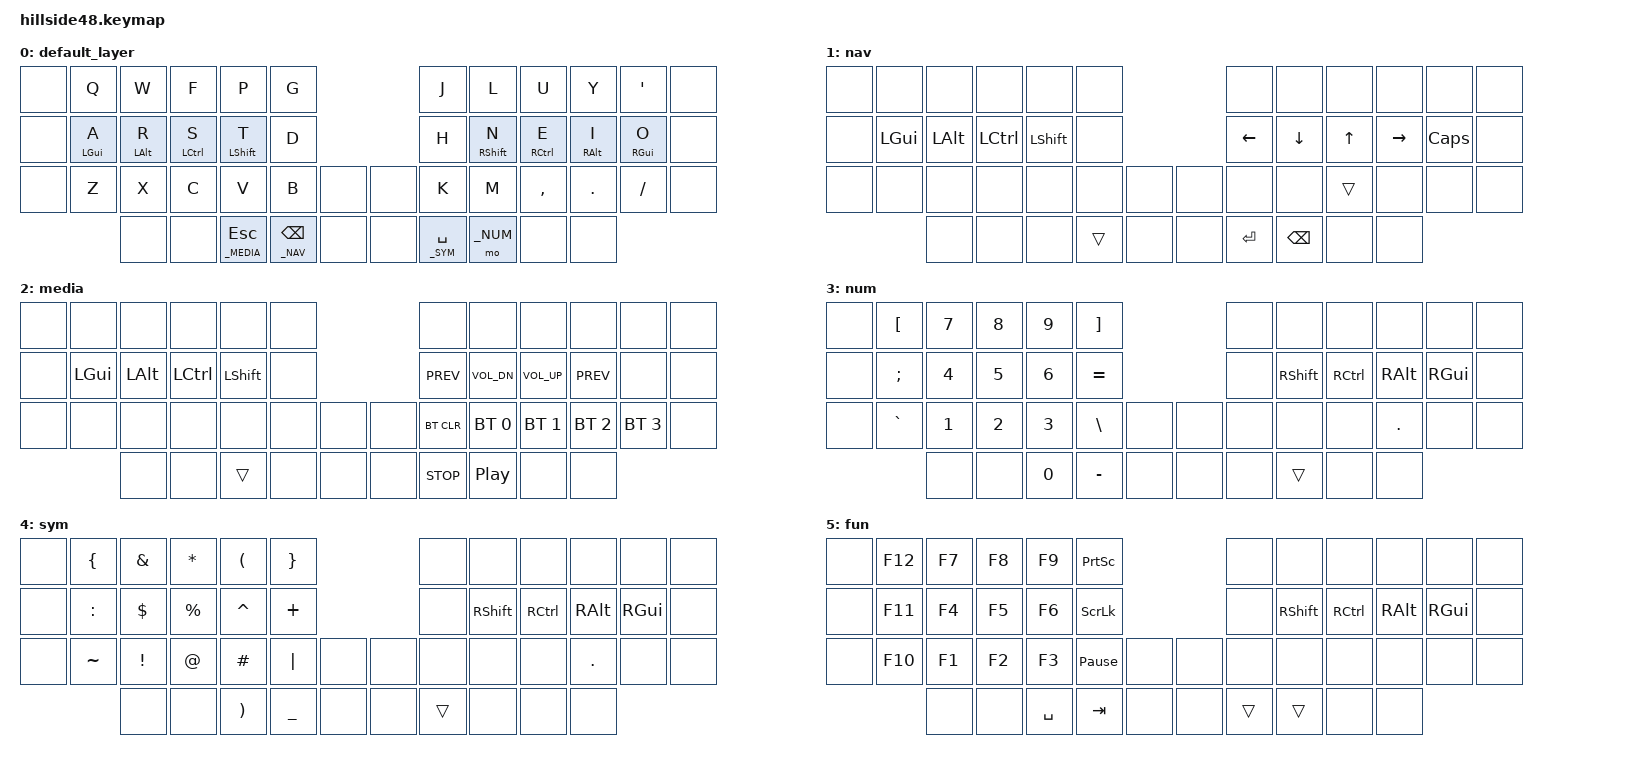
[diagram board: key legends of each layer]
/*
 * Copyright (c) 2020 The ZMK Contributors
 *
 * SPDX-License-Identifier: MIT
 */

#include <behaviors.dtsi>
#include <dt-bindings/zmk/keys.h>
#include <dt-bindings/zmk/bt.h>

#define             _BASE    0
#define             _NAV     1
#define             _MEDIA   2
#define             _NUM     3
#define             _SYM     4
#define             _FUN     5

#define VOL_U       &kp C_VOL_UP
#define VOL_D       &kp C_VOL_DN

#define BT0         &bt BT_SEL 0
#define BT1         &bt BT_SEL 1
#define BT2         &bt BT_SEL 2
#define BT3         &bt BT_SEL 3

#define PB          &kp PAUSE_BREAK

#define SPC_SYM     &lt _SYM   SPC
#define ESC_MED     &lt _MEDIA ESC
#define BSPC_NAV    &lt _NAV   BSPC
#define RET_NUM     &lt _NUM   RET

#define A_GUI       &hm LGUI  A
#define R_ALT       &hm LALT  R
#define S_CTRL      &hm LCTRL S
#define T_SHFT      &hm LSHFT T

#define N_SHFT      &hm RSHFT N
#define E_CTRL      &hm RCTRL E
#define I_ALT       &hm RALT  I
#define O_GUI       &hm RGUI  O

&kscan0 {
    debounce-period  = <12>;
};

&mt {
    tapping-term-ms = <185>;
    quick-tap-ms = <185>;
};

&lt {
    flavor = "balanced";
    tapping-term-ms = <185>;
    quick-tap-ms = <185>;
};

&caps_word {
    continue-list = <UNDERSCORE MINUS BACKSPACE>;
};

/ { 

        combos {
            compatible = "zmk,combos";

            combo_esc {
                timeout-ms = <50>;
                key-positions = <15 16>;
                bindings = <&kp ESC>;
                layers = <0 1 2 3 4 5>;
            };

            combo_tab {
                timeout-ms = <20>;
                key-positions = <16 17>;
                bindings = <&kp TAB>;
                layers = <0 1 2 3 4 5>;
            };

            combo_ret {
                timeout-ms = <20>;
                key-positions = <21 22>;
                bindings = <&kp RET>;
                layers = <0 1 2 3 4 5>;
            };
            
            combo_caps_word {
                timeout-ms = <20>;
                key-positions = <27 28>;
                bindings = <&caps_word>;
                layers = <0 1 2 3 4 5>;
            };
            
            combo_fun {
                timeout-ms = <20>;
                key-positions = <32 33>;
                bindings = <&mo _FUN>;
                layers = <0 1 2 3 4 5>;
            };

            combo_del {
                timeout-ms = <50>;
                key-positions = <9 10>;
                bindings = <&kp DEL>;
                layers = <0 1 2 3 4 5>;
            };
        };
    
        behaviors {
            hm: homerow_mods {
                compatible = "zmk,behavior-hold-tap";
                label = "HOMEROW_MODS";
                #binding-cells = <2>;
                tapping-term-ms = <200>;
                quick-tap-ms = <50>;
                flavor = "tap-preferred";
                bindings = <&kp>, <&kp>;
            };
        };

        keymap {
            compatible = "zmk,keymap";
                
       		default_layer {
		bindings = <
            &none   &kp Q       &kp W       &kp F       &kp P       &kp G 				        &kp J       &kp L       &kp U       &kp Y       &kp SQT     &none
            &none   A_GUI       R_ALT       S_CTRL      T_SHFT      &kp D 			            &kp H       N_SHFT      E_CTRL      I_ALT       O_GUI       &none
            &none   &kp Z       &kp X       &kp C       &kp V       &kp B       &none   &none   &kp K       &kp M       &kp COMMA   &kp DOT     &kp SLASH   &none
                                &none       &none       ESC_MED     BSPC_NAV    &none   &none   SPC_SYM     &mo _NUM    &none       &none 
		>;
		};

       		nav {
		bindings = <
            &none   &none       &none       &none       &none       &none                       &none       &none       &none       &none       &none       &none
            &none   &kp LGUI    &kp LALT    &kp LCTRL   &kp LSHFT   &none                       &kp LEFT    &kp DOWN    &kp UP      &kp RIGHT   &kp CAPS    &none
            &none   &none       &none       &none       &none       &none       &none   &none   &none       &none       &trans      &none       &none       &none
                                &none       &none       &none       &trans      &none   &none	&kp RET     &kp BSPC    &none       &none
		>;
		};
		
            media {
		bindings = <
            &none   &none       &none       &none       &none       &none  				        &none       &none       &none       &none       &none       &none
            &none   &kp LGUI    &kp LALT    &kp LCTRL   &kp LSHFT   &none                       &kp C_PREV  VOL_D       VOL_U       &kp C_PREV  &none       &none
            &none   &none       &none       &none       &none       &none       &none   &none   &bt BT_CLR  BT0         BT1         BT2         BT3         &none
                                &none       &none       &trans      &none       &none   &none   &kp C_STOP  &kp C_PP    &none       &none
		>;
		};	
		
            num {
		bindings = <
            &none   &kp LBKT    &kp N7      &kp N8      &kp N9      &kp RBKT 				    &none       &none       &none       &none       &none       &none
            &none   &kp SEMI    &kp N4      &kp N5      &kp N6      &kp EQUAL                   &none       &kp RSHFT   &kp RCTRL   &kp RALT    &kp RGUI    &none
            &none   &kp GRAVE   &kp N1      &kp N2      &kp N3      &kp BSLH    &none   &none   &none       &none       &none       &kp DOT     &none       &none
                                &none       &none       &kp N0      &kp MINUS   &none   &none   &none       &trans      &none       &none
		>;
		};	
		
            sym {
		bindings = <
            &none   &kp LBRC    &kp AMPS    &kp STAR    &kp LPAR    &kp RBRC 				    &none       &none       &none       &none       &none       &none
            &none   &kp COLON   &kp DLLR    &kp PERCENT &kp CARET   &kp PLUS                    &none       &kp RSHFT   &kp RCTRL   &kp RALT    &kp RGUI    &none
            &none   &kp TILDE   &kp EXCL    &kp AT      &kp HASH    &kp PIPE    &none   &none   &none       &none       &none       &kp DOT     &none       &none
                                &none       &none       &kp RPAR    &kp UNDER   &none    &none  &trans      &none       &none       &none
		>;
		};	

            fun {
		bindings = <
            &none   &kp F12     &kp F7      &kp F8      &kp F9      &kp PSCRN 				    &none       &none       &none       &none       &none       &none
            &none   &kp F11     &kp F4      &kp F5      &kp F6      &kp SLCK                    &none       &kp RSHFT   &kp RCTRL   &kp RALT    &kp RGUI    &none
            &none   &kp F10     &kp F1      &kp F2      &kp F3      PB          &none   &none   &none       &none       &none       &none       &none       &none
                                &none       &none       &kp SPC     &kp TAB     &none   &none   &trans      &trans      &none       &none
		>;
		};	
		
	};
};
